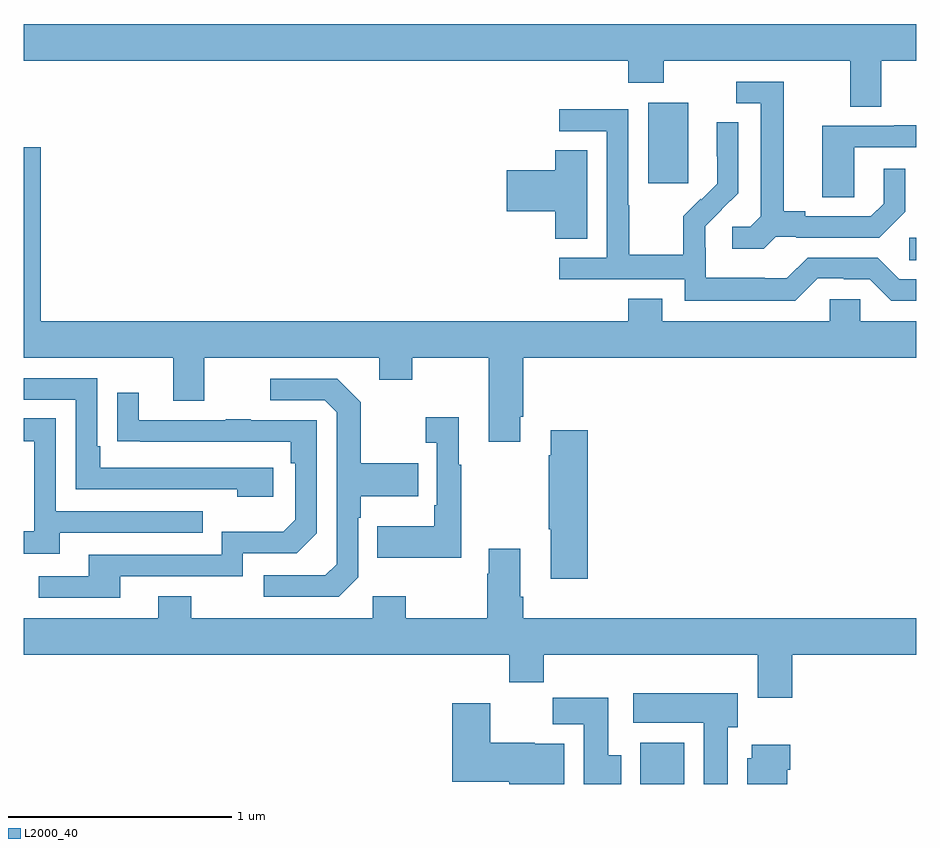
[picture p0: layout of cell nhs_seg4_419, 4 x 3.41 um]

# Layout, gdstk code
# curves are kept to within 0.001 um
import gdstk
lib = gdstk.Library(unit=1e-6, precision=1e-09)
def R(c, l, rs):  # rectangles x0, y0, x1, y1
    for r in rs: c.add(gdstk.rectangle(r[:2], r[2:], *l))
def P(c, l, *ps):  # polygons
    for p in ps: c.add(gdstk.Polygon(p, *l))
L2000_40 = (2000, 40)

nhs_seg4_419 = lib.new_cell('nhs_seg4_419')
R(nhs_seg4_419, L2000_40, [(133.763,802.9,133.96,803.086), (134.97,805.249,135,805.35), (133.799,805.593,133.978,805.954)])
P(nhs_seg4_419, L2000_40, [(134.845,806.144),(135,806.144),(135,806.308),(131,806.308),(131,806.144),(133.709,806.144),(133.709,806.045),(133.869,806.045),(133.869,806.144),(134.705,806.144),(134.705,805.936),(134.845,805.936)],
  [(134.37,805.353),(134.464,805.353),(134.464,805.35),(134.836,805.35),(134.952,805.466),(134.952,805.66),(134.855,805.66),(134.855,805.503),(134.798,805.446),(134.503,805.446),(134.503,805.469),(134.407,805.469),(134.407,806.049),(134.193,806.049),(134.193,805.953),(134.303,805.953),(134.303,805.445),(134.256,805.398),(134.175,805.398),(134.175,805.301),(134.318,805.301)],
  [(134.559,805.167),(134.675,805.167),(134.675,805.164),(134.793,805.164),(134.889,805.068),(135,805.068),(135,805.164),(134.925,805.164),(134.829,805.26),(134.514,805.26),(134.421,805.167),(134.321,805.167),(134.321,805.171),(134.058,805.171),(134.058,805.305),(134.056,805.305),(134.056,805.402),(134.202,805.55),(134.202,805.868),(134.106,805.868),(134.106,805.714),(134.108,805.714),(134.108,805.592),(134.037,805.521),(134.034,805.524),(133.957,805.447),(133.957,805.273),(133.713,805.273),(133.713,805.496),(133.71,805.496),(133.71,805.926),(133.401,805.926),(133.401,805.827),(133.614,805.827),(133.614,805.26),(133.401,805.26),(133.401,805.164),(133.962,805.164),(133.962,805.067),(134.459,805.067)],
  [(134.724,805.755),(135,805.755),(135,805.855),(134.903,805.855),(134.903,805.851),(134.579,805.851),(134.579,805.531),(134.724,805.531)],
  [(133.225,804.547),(133.238,804.547),(133.238,804.812),(135,804.812),(135,804.976),(134.751,804.976),(134.751,805.074),(134.613,805.074),(134.613,804.976),(133.861,804.976),(133.861,805.075),(133.709,805.075),(133.709,804.976),(131.075,804.976),(131.075,805.756),(131,805.756),(131,804.812),(131.669,804.812),(131.669,804.618),(131.809,804.618),(131.809,804.812),(132.593,804.812),(132.593,804.713),(132.741,804.713),(132.741,804.812),(133.085,804.812),(133.085,804.435),(133.225,804.435)],
  [(133.525,805.742),(133.382,805.742),(133.382,805.652),(133.164,805.652),(133.164,805.469),(133.382,805.469),(133.382,805.345),(133.525,805.345)],
  [(132.118,804.318),(131.341,804.318),(131.341,804.415),(131.328,804.415),(131.328,804.72),(131,804.72),(131,804.624),(131.232,804.624),(131.232,804.222),(131.957,804.222),(131.957,804.188),(132.118,804.188)],
  [(132.498,803.826),(132.498,804.095),(132.511,804.095),(132.511,804.191),(132.767,804.191),(132.767,804.339),(132.511,804.339),(132.511,804.611),(132.405,804.717),(132.105,804.717),(132.105,804.621),(132.348,804.621),(132.402,804.567),(132.402,803.886),(132.351,803.835),(132.075,803.835),(132.075,803.739),(132.411,803.739)],
  [(131.431,803.832),(131.982,803.832),(131.982,803.934),(132.222,803.934),(132.312,804.024),(132.312,804.531),(132.017,804.531),(132.017,804.536),(131.905,804.536),(131.905,804.531),(131.515,804.531),(131.515,804.655),(131.419,804.655),(131.419,804.436),(132.196,804.435),(132.196,804.338),(132.216,804.338),(132.216,804.084),(132.163,804.031),(131.886,804.031),(131.886,803.928),(131.291,803.928),(131.291,803.832),(131.067,803.832),(131.067,803.736),(131.431,803.736)],
  [(132.961,804.331),(132.949,804.331),(132.949,804.544),(132.801,804.544),(132.801,804.431),(132.852,804.431),(132.852,804.151),(132.84,804.151),(132.84,804.055),(132.583,804.055),(132.583,803.915),(132.961,803.915)],
  [(131.161,804.027),(131.801,804.027),(131.801,804.123),(131.142,804.123),(131.142,804.539),(131,804.539),(131,804.438),(131.046,804.438),(131.046,804.033),(131,804.033),(131,803.933),(131.161,803.933)],
  [(133.529,804.487),(133.361,804.487),(133.361,804.374),(133.354,804.374),(133.354,804.043),(133.361,804.043),(133.361,803.82),(133.529,803.82)],
  [(134.444,803.48),(135,803.48),(135,803.644),(133.238,803.644),(133.238,803.74),(133.225,803.74),(133.225,803.956),(133.085,803.956),(133.085,803.843),(133.078,803.843),(133.078,803.644),(132.711,803.644),(132.711,803.743),(132.564,803.743),(132.564,803.644),(131.751,803.644),(131.751,803.743),(131.603,803.743),(131.603,803.644),(131,803.644),(131,803.48),(133.175,803.48),(133.175,803.356),(133.331,803.356),(133.331,803.48),(134.291,803.48),(134.291,803.286),(134.444,803.286)],
  [(134.155,803.154),(134.2,803.154),(134.2,803.308),(133.731,803.308),(133.731,803.174),(134.048,803.174),(134.048,802.9),(134.155,802.9)],
  [(133.678,803.028),(133.621,803.028),(133.621,803.287),(133.372,803.287),(133.372,803.168),(133.511,803.168),(133.511,802.9),(133.678,802.9)],
  [(133.423,803.08),(133.29,803.08),(133.29,803.086),(133.09,803.086),(133.09,803.263),(132.92,803.263),(132.92,802.91),(133.176,802.91),(133.176,802.9),(133.423,802.9)],
  [(134.422,802.964),(134.435,802.964),(134.435,803.077),(134.264,803.077),(134.264,803.016),(134.243,803.016),(134.243,802.9),(134.422,802.9)])

lib.write_gds('nhs_seg4_419.gds')
